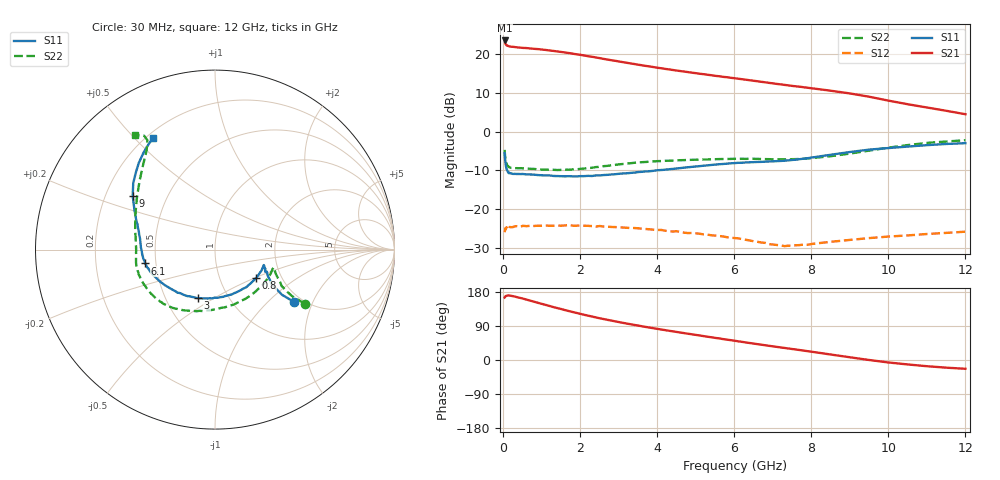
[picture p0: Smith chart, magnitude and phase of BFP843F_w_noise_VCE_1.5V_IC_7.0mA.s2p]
! Infineon Technologies  Discrete & RF Semiconductors
! BFP843F
! VCE =  1.5 V,  IC =  7.0 mA
! Common Emitter S-Parameters:  Aug 2013
# GHz  S  MA  R  50
!  f  S11  S21  S12  S22
! GHz  MAG  ANG  MAG  ANG  MAG  ANG  MAG  ANG
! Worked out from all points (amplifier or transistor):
!   103 points, 30 MHz to 12 GHz, reference 50 ohm
!   highest |S21| = 23.6 dB at 30 MHz (marker M1)
!   |S21| within 3 dB of that: start of sweep to 1.519 GHz
!   unconditionally stable (mu >= 1): 179.6 MHz to 636.4 MHz; 3.08 GHz to end of sweep
!   at 400 MHz: K = 1.01, MAG = 22.6 dB, |S12| = -24.5 dB
!   at 3.7 GHz: K = 1.06, MAG = 19.6 dB, |S12| = -25.1 dB
!   at 12 GHz: K = 1.41, MAG = 11.4 dB, |S12| = -25.8 dB
!   lowest NFmin = 0.80 dB at 450 MHz
!   S11 on the Smith chart (normalised r, x): 30 MHz: 1.81, -1.47; 800 MHz: 1.49, -0.51; 3 GHz: 0.72, -0.43; 6.1 GHz: 0.44, -0.08; 9 GHz: 0.32, +0.27; 12 GHz: 0.22, +0.57
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0.03  0.5296 -33.5  15.12 164.8  0.0503 33.1  0.5831 -31.1
0.04  0.4499 -34.0  14.29 165.5  0.0533 23.8  0.5018 -31.1
0.05  0.4113 -32.8  13.72 168.0  0.0567 19.4  0.4558 -30.0
0.07  0.3477 -28.7  13.23 169.2  0.0568 13.6  0.3983 -25.6
0.1  0.3136 -23.0  12.87 170.0  0.0566 11.7  0.366 -21.9
0.15  0.294 -20.0  12.7 170.3  0.059 7.3  0.3473 -18.3
0.8  0.2786 -34.9  11.79 153.7  0.0606 0.3  0.3307 -37.1
1.1  0.2723 -46.8  11.39 145.3  0.0613 -1.3  0.3239 -50.2
1.4  0.2675 -58.3  10.9 137.0  0.0612 -3.0  0.3201 -63.2
1.7  0.2665 -69.8  10.4 129.1  0.0625 -4.7  0.3226 -75.8
2.1  0.267 -83.7  9.662 119.2  0.061 -7.0  0.3347 -91.6
2.5  0.2722 -96.1  8.936 110.1  0.0605 -8.5  0.3519 -104.2
3  0.2859 -109.1  8.088 100.1  0.0583 -10.8  0.3788 -116.5
3.6  0.3038 -122.7  7.223 89.0  0.0557 -13.3  0.4044 -127.6
4.1  0.3201 -133.6  6.611 80.5  0.0538 -14.4  0.4178 -135.2
5.2  0.3638 -154.3  5.541 63.0  0.0472 -15.9  0.4377 -150.9
6.1  0.3965 -168.8  4.84 49.3  0.0419 -15.9  0.4461 -163.5
7.2  0.4192 173.4  4.096 33.2  0.0341 -6.1  0.439 -179.3
8.5  0.5037 153.2  3.39 14.5  0.0378 9.8  0.4828 156.9
9  0.5467 147.0  3.125 7.2  0.04 12.1  0.522 146.5
10.5  0.6427 131.4  2.268 -11.7  0.0457 16.9  0.6721 124.5
12  0.7117 119.0  1.684 -23.2  0.0511 21.6  0.7777 124.8
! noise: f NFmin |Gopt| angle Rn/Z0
0.45  0.8  0.09  13  0.04
0.9  0.8  0.09  25  0.05
1.5  0.85  0.09  37  0.05
1.9  0.91  0.09  52  0.06
2.4  0.95  0.1  68  0.06
3.5  1.01  0.12  99  0.12
5.5  1.12  0.16  167  0.16
10  1.75  0.37  -120  0.25
